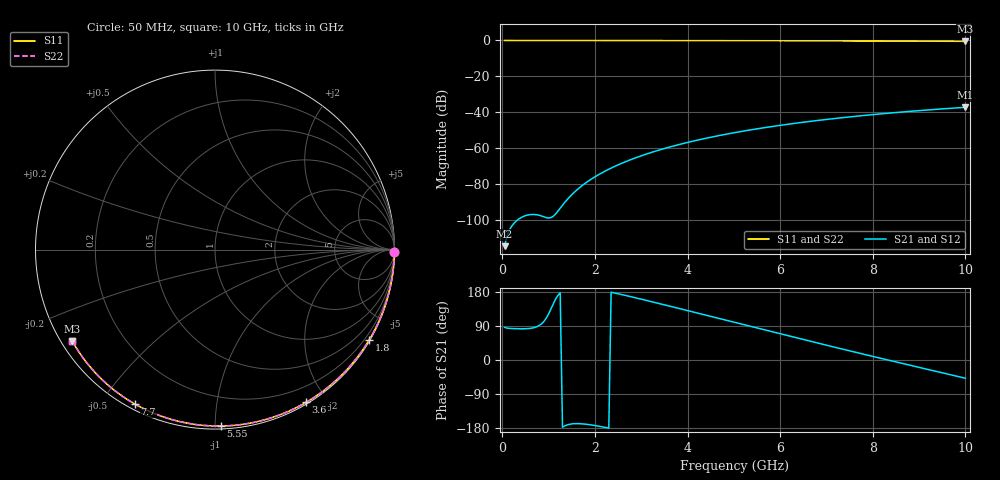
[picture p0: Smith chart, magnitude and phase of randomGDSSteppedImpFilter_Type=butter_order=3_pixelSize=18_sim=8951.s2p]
! freq	dB(S11)	phase(S11)	dB(S12)	phase(S12)
!  dB(S21)	phase(S21)	dB(S22)	phase(S22)
!S-par simulation data
#  GHz  S  DB  R 50
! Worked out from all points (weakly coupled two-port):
!   200 points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, 50 MHz to 10 GHz, reference 50 ohm
!   highest |S21| = -37.25 dB at 10 GHz (marker M1); lowest = -114.6 dB at 50 MHz (marker M2)
!   lowest |S11| = -0.5 dB at 10 GHz (marker M3), VSWR 35.04, Z = 1.55 - j14.7 ohm
!   |S11| at or under -10 dB: nowhere
!   |S22| runs from -0.5 to 0.0 dB; largest |S21 - S12| = 0
!   S11 on the Smith chart (normalised r, x): 50 MHz: open; 1.8 GHz: 0.03, -3.69; 3.6 GHz: 0.02, -1.76; 5.55 GHz: 0.02, -1.03; 7.7 GHz: 0.02, -0.61; 10 GHz: 0.03, -0.29
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0.05  -0.00 -0.9  -114.63 86.3  -114.63 86.3  -0.00 -0.9
0.45  -0.01 -7.7  -98.13 82.3  -98.13 82.3  -0.01 -7.7
0.9  -0.02 -15.3  -98.27 102.0  -98.27 102.0  -0.02 -15.3
1.3  -0.03 -22.0  -91.80 -177.3  -91.80 -177.3  -0.03 -22.0
1.75  -0.04 -29.5  -80.35 -168.8  -80.35 -168.8  -0.04 -29.5
1.8  -0.04 -30.3  -79.39 -169.4  -79.39 -169.4  -0.04 -30.3
1.95  -0.04 -32.8  -76.79 -171.9  -76.79 -171.9  -0.04 -32.8
2.1  -0.04 -35.3  -74.48 -175.0  -74.48 -175.0  -0.04 -35.3
2.3  -0.05 -38.5  -71.75 -179.8  -71.75 -179.8  -0.05 -38.5
2.5  -0.05 -41.8  -69.33 174.9  -69.33 174.9  -0.05 -41.8
2.9  -0.06 -48.2  -65.20 163.5  -65.20 163.5  -0.06 -48.2
3.4  -0.07 -56.1  -60.96 148.6  -60.96 148.6  -0.07 -56.1
3.6  -0.08 -59.2  -59.49 142.6  -59.49 142.6  -0.08 -59.2
4.3  -0.10 -69.8  -55.05 121.1  -55.05 121.1  -0.10 -69.8
5.05  -0.12 -80.9  -51.21 98.0  -51.21 98.0  -0.12 -80.9
5.55  -0.14 -88.0  -49.04 82.7  -49.04 82.7  -0.14 -88.0
6.1  -0.17 -95.8  -46.94 66.0  -46.94 66.0  -0.17 -95.8
6.7  -0.20 -104.0  -44.92 47.9  -44.92 47.9  -0.20 -104.0
7.7  -0.27 -117.4  -42.07 18.3  -42.07 18.3  -0.27 -117.4
8.35  -0.32 -125.9  -40.50 -0.7  -40.50 -0.7  -0.32 -125.9
9.2  -0.40 -136.9  -38.70 -25.2  -38.70 -25.2  -0.40 -136.9
10  -0.50 -147.3  -37.25 -48.1  -37.25 -48.1  -0.50 -147.3
